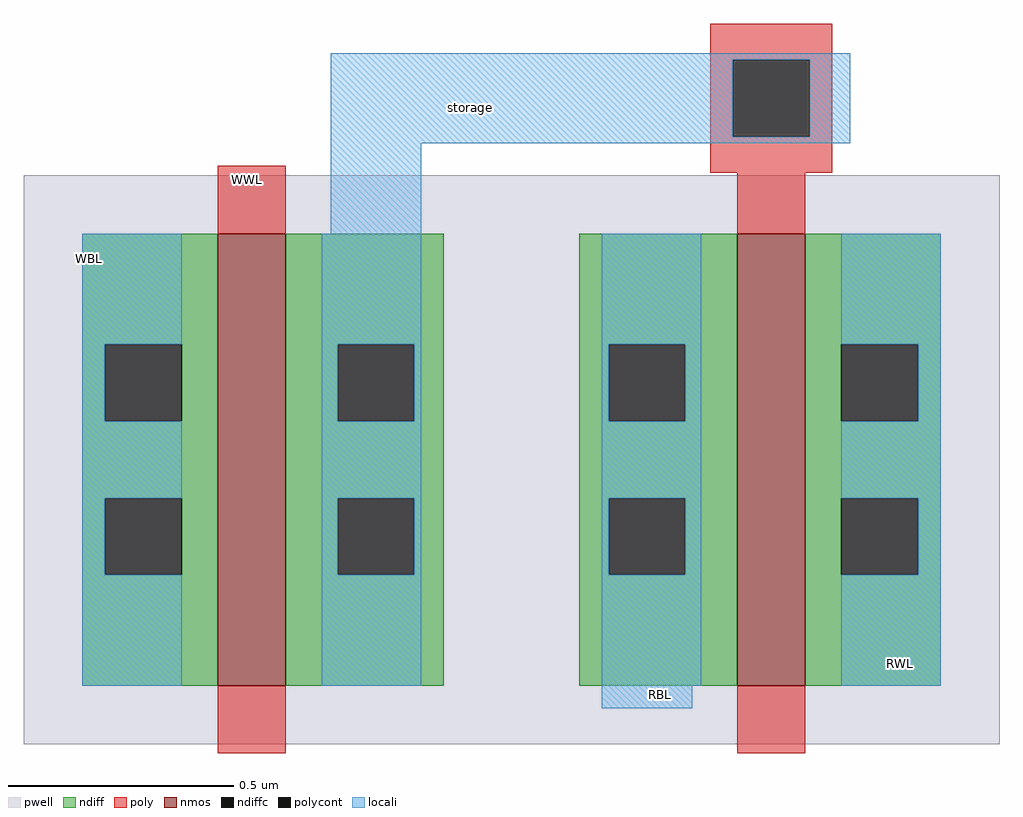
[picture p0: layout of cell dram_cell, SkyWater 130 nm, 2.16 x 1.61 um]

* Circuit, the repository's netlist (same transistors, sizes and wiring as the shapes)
* SPICE3 file created from dram_cell.ext - technology: sky130A

.subckt dram_cell WWL WBL RWL RBL
X0 RWL a_50_n70# RBL VSUBS sky130_fd_pr__nfet_01v8 ad=3e+11p pd=2.6e+06u as=3.5e+11p ps=2.7e+06u w=1e+06u l=150000u
X1 a_50_n70# WWL WBL VSUBS sky130_fd_pr__nfet_01v8 ad=3.5e+11p pd=2.7e+06u as=3e+11p ps=2.6e+06u w=1e+06u l=150000u
.ends

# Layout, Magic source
magic
tech sky130B
magscale 1 2
<< pwell >>
rect -66 -96 366 156
<< nmos >>
rect 20 -70 50 130
rect 250 -70 280 130
<< ndiff >>
rect -40 81 20 130
rect -40 47 -30 81
rect 4 47 20 81
rect -40 13 20 47
rect -40 -21 -30 13
rect 4 -21 20 13
rect -40 -70 20 -21
rect 50 81 120 130
rect 50 47 73 81
rect 107 47 120 81
rect 50 13 120 47
rect 50 -21 73 13
rect 107 -21 120 13
rect 50 -70 120 -21
rect 180 81 250 130
rect 180 47 193 81
rect 227 47 250 81
rect 180 13 250 47
rect 180 -21 193 13
rect 227 -21 250 13
rect 180 -70 250 -21
rect 280 81 340 130
rect 280 47 296 81
rect 330 47 340 81
rect 280 13 340 47
rect 280 -21 296 13
rect 330 -21 340 13
rect 280 -70 340 -21
<< ndiffc >>
rect -30 47 4 81
rect -30 -21 4 13
rect 73 47 107 81
rect 73 -21 107 13
rect 193 47 227 81
rect 193 -21 227 13
rect 296 47 330 81
rect 296 -21 330 13
<< poly >>
rect 238 207 292 223
rect 238 173 248 207
rect 282 173 292 207
rect 20 130 50 160
rect 238 157 292 173
rect 250 130 280 157
rect 20 -100 50 -70
rect 250 -100 280 -70
<< polycont >>
rect 248 173 282 207
<< locali >>
rect 70 207 300 210
rect 70 173 248 207
rect 282 173 300 207
rect 70 170 300 173
rect 70 130 110 170
rect -40 81 4 130
rect -40 47 -30 81
rect -40 13 4 47
rect -40 -21 -30 13
rect -40 -70 4 -21
rect 66 81 110 130
rect 66 47 73 81
rect 107 47 110 81
rect 66 13 110 47
rect 66 -21 73 13
rect 107 -21 110 13
rect 66 -70 110 -21
rect 190 81 234 130
rect 190 47 193 81
rect 227 47 234 81
rect 190 13 234 47
rect 190 -21 193 13
rect 227 -21 234 13
rect 190 -70 234 -21
rect 296 81 340 130
rect 330 47 340 81
rect 296 13 340 47
rect 330 -21 340 13
rect 296 -70 340 -21
rect 190 -80 230 -70
<< labels >>
rlabel locali s 132 186 132 186 4 storage
port 1 nsew
rlabel poly s 33 154 33 154 4 WWL
port 2 nsew
rlabel locali s -37 119 -37 119 4 WBL
port 3 nsew
rlabel locali s 322 -60 322 -60 4 RWL
port 4 nsew
rlabel locali s 216 -74 216 -74 4 RBL
port 5 nsew
<< end >>
